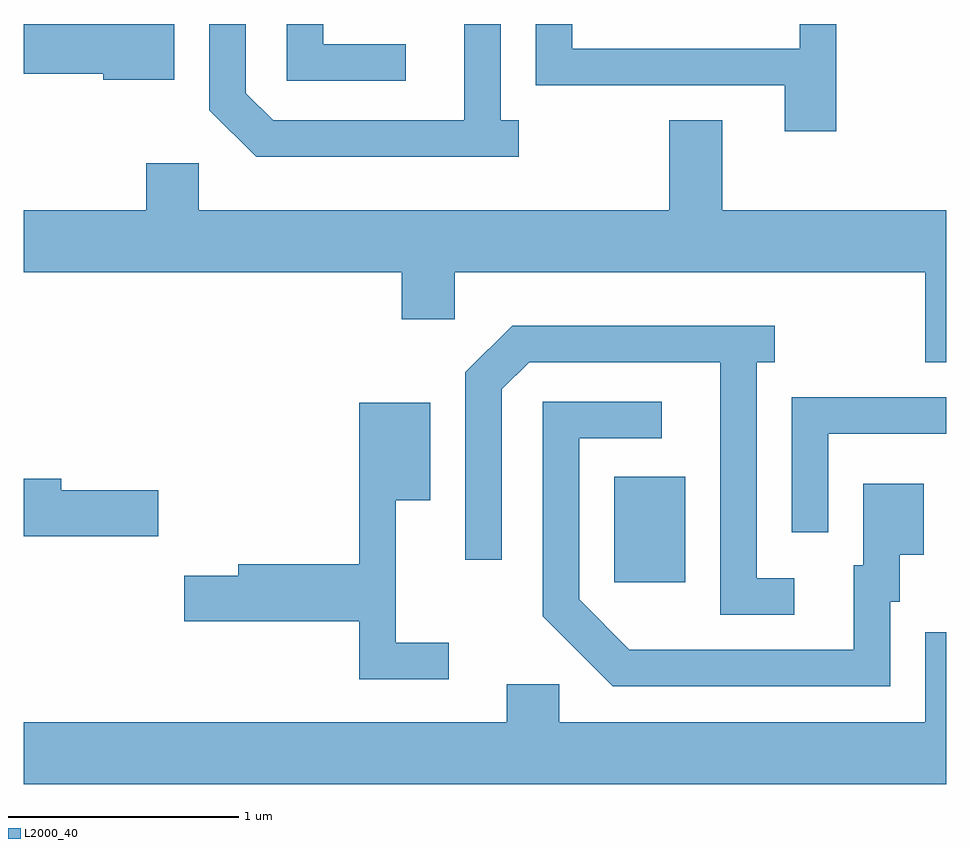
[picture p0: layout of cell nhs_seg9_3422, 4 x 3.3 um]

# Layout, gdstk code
import gdstk
lib = gdstk.Library(unit=1e-6, precision=1e-09)
def R(c, l, rs):  # rectangles x0, y0, x1, y1
    for r in rs: c.add(gdstk.rectangle(r[:2], r[2:], *l))
def P(c, l, *ps):  # polygons
    for p in ps: c.add(gdstk.Polygon(p, *l))
L2000_40 = (2000, 40)

nhs_seg9_3422 = lib.new_cell('nhs_seg9_3422')
R(nhs_seg9_3422, L2000_40, [(288.171,2006.011,288.479,2006.469)])
P(nhs_seg9_3422, L2000_40, [(286.264,2008.432),(285.611,2008.432),(285.611,2008.216),(285.956,2008.216),(285.956,2008.191),(286.264,2008.191)],
  [(287.268,2008.344),(286.909,2008.344),(286.909,2008.432),(286.751,2008.432),(286.751,2008.186),(287.268,2008.186)],
  [(287.758,2008.014),(287.679,2008.014),(287.679,2008.432),(287.521,2008.432),(287.521,2008.014),(286.692,2008.014),(286.574,2008.132),(286.574,2008.432),(286.416,2008.432),(286.416,2008.059),(286.619,2007.856),(287.758,2007.856)],
  [(289.134,2008.432),(288.976,2008.432),(288.976,2008.324),(287.989,2008.324),(287.989,2008.432),(287.831,2008.432),(287.831,2008.166),(288.911,2008.166),(288.911,2007.966),(289.134,2007.966)],
  [(289.611,2007.624),(288.639,2007.624),(288.639,2008.014),(288.411,2008.014),(288.411,2007.624),(286.369,2007.624),(286.369,2007.829),(286.141,2007.829),(286.141,2007.624),(285.611,2007.624),(285.611,2007.356),(287.251,2007.356),(287.251,2007.151),(287.479,2007.151),(287.479,2007.356),(289.521,2007.356),(289.521,2006.966),(289.611,2006.966)],
  [(288.953,2006.029),(288.789,2006.029),(288.789,2006.966),(288.868,2006.966),(288.868,2007.124),(287.729,2007.124),(287.526,2006.922),(287.526,2006.108),(287.684,2006.108),(287.684,2006.849),(287.802,2006.966),(288.631,2006.966),(288.631,2005.871),(288.953,2005.871)],
  [(289.099,2006.656),(289.611,2006.656),(289.611,2006.814),(288.941,2006.814),(288.941,2006.228),(289.099,2006.228)],
  [(289.369,2005.926),(289.409,2005.926),(289.409,2006.131),(289.514,2006.131),(289.514,2006.439),(289.251,2006.439),(289.251,2006.084),(289.211,2006.084),(289.211,2005.719),(288.237,2005.719),(288.019,2005.937),(288.019,2006.636),(288.378,2006.636),(288.378,2006.794),(287.861,2006.794),(287.861,2005.864),(288.164,2005.561),(289.369,2005.561)],
  [(287.453,2005.749),(287.224,2005.749),(287.224,2006.366),(287.374,2006.366),(287.374,2006.789),(287.066,2006.789),(287.066,2006.089),(286.541,2006.089),(286.541,2006.039),(286.306,2006.039),(286.306,2005.841),(287.066,2005.841),(287.066,2005.591),(287.453,2005.591)],
  [(286.194,2006.409),(285.774,2006.409),(285.774,2006.459),(285.611,2006.459),(285.611,2006.211),(286.194,2006.211)],
  [(289.611,2005.794),(289.521,2005.794),(289.521,2005.404),(287.934,2005.404),(287.934,2005.569),(287.706,2005.569),(287.706,2005.404),(285.611,2005.404),(285.611,2005.136),(289.611,2005.136)])

lib.write_gds('nhs_seg9_3422.gds')
